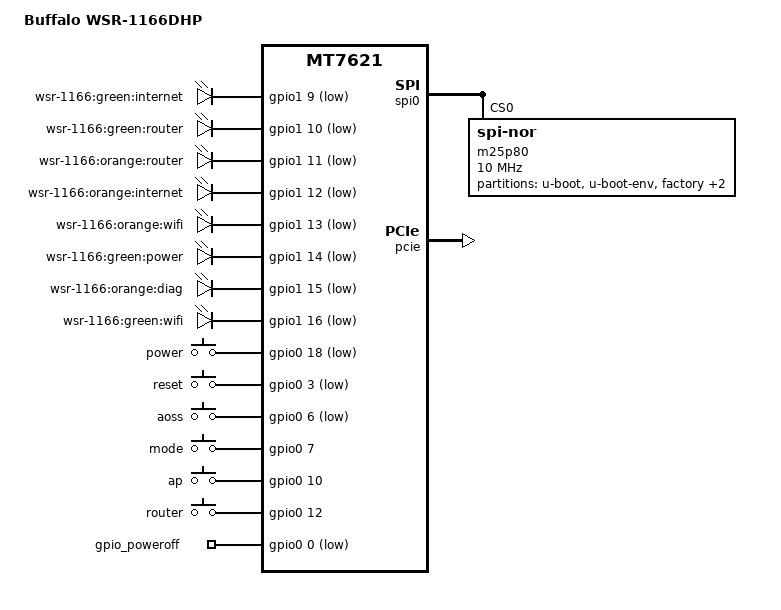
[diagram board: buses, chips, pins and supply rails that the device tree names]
/dts-v1/;

#include "mt7621.dtsi"

#include <dt-bindings/gpio/gpio.h>
#include <dt-bindings/input/input.h>

/ {
	compatible = "buffalo,wsr-1166dhp", "mediatek,mt7621-soc";
	model = "Buffalo WSR-1166DHP";

	aliases {
		led-boot = &led_power;
		led-failsafe = &led_power;
		led-running = &led_power;
		led-upgrade = &led_power;
	};

	chosen {
		bootargs = "console=ttyS0,57600";
	};

	leds {
		compatible = "gpio-leds";

		internet_g {
			label = "wsr-1166:green:internet";
			gpios = <&gpio1 9 GPIO_ACTIVE_LOW>;
		};

		router_g {
			label = "wsr-1166:green:router";
			gpios = <&gpio1 10 GPIO_ACTIVE_LOW>;
		};

		router_o {
			label = "wsr-1166:orange:router";
			gpios = <&gpio1 11 GPIO_ACTIVE_LOW>;
		};

		internet_o {
			label = "wsr-1166:orange:internet";
			gpios = <&gpio1 12 GPIO_ACTIVE_LOW>;
		};

		wifi_o {
			label = "wsr-1166:orange:wifi";
			gpios = <&gpio1 13 GPIO_ACTIVE_LOW>;
		};

		led_power: power {
			label = "wsr-1166:green:power";
			gpios = <&gpio1 14 GPIO_ACTIVE_LOW>;
		};

		diag {
			label = "wsr-1166:orange:diag";
			gpios = <&gpio1 15 GPIO_ACTIVE_LOW>;
		};

		wifi_g {
			label = "wsr-1166:green:wifi";
			gpios = <&gpio1 16 GPIO_ACTIVE_LOW>;
		};
	};

	keys {
		compatible = "gpio-keys";

		power {
			label = "power";
			gpios = <&gpio0 18 GPIO_ACTIVE_LOW>;
			linux,code = <KEY_POWER>;
		};

		reset {
			label = "reset";
			gpios = <&gpio0 3 GPIO_ACTIVE_LOW>;
			linux,code = <KEY_RESTART>;
		};

		aoss {
			label = "aoss";
			gpios = <&gpio0 6 GPIO_ACTIVE_LOW>;
			linux,code = <KEY_WPS_BUTTON>;
		};

		auto {
			label = "mode";
			gpios = <&gpio0 7 GPIO_ACTIVE_HIGH>;
			linux,code = <BTN_0>;
			linux,input-type = <EV_SW>;
		};

		ap {
			label = "ap";
			gpios = <&gpio0 10 GPIO_ACTIVE_HIGH>;
			linux,code = <BTN_0>;
			linux,input-type = <EV_SW>;
		};

		router {
			label = "router";
			gpios = <&gpio0 12 GPIO_ACTIVE_HIGH>;
			linux,code = <BTN_0>;
			linux,input-type = <EV_SW>;
		};
	};

	gpio_poweroff {
		compatible = "gpio-poweroff";
		gpios = <&gpio0 0 GPIO_ACTIVE_LOW>;
	};
};

&spi0 {
	status = "okay";

	m25p80@0 {
		compatible = "jedec,spi-nor";
		reg = <0>;
		spi-max-frequency = <10000000>;

		partitions {
			compatible = "fixed-partitions";
			#address-cells = <1>;
			#size-cells = <1>;

			partition@0 {
				label = "u-boot";
				reg = <0x0 0x30000>;
				read-only;
			};

			partition@30000 {
				label = "u-boot-env";
				reg = <0x30000 0x10000>;
				read-only;
			};

			factory: partition@40000 {
				label = "factory";
				reg = <0x40000 0x10000>;
				read-only;
			};

			partition@50000 {
				compatible = "openwrt,trx";
				label = "firmware";
				reg = <0x50000 0xf90000>;
			};

			partition@fe0000 {
				label = "board_data";
				reg = <0xfe0000 0x20000>;
			};
		};
	};
};

&state_default {
	gpio {
		ralink,group = "i2c", "uart2", "uart3", "rgmii2", "sdhci";
		ralink,function = "gpio";
	};
};

&pcie {
	status = "okay";
};

&pcie0 {
	mt76@0,0 {
		reg = <0x0000 0 0 0 0>;
		mediatek,mtd-eeprom = <&factory 0x8000>;
		ieee80211-freq-limit = <5000000 6000000>;
	};
};

&pcie1 {
	mt76@0,0 {
		reg = <0x0000 0 0 0 0>;
		mediatek,mtd-eeprom = <&factory 0x0000>;
	};
};

&xhci {
	status = "disabled";
};
